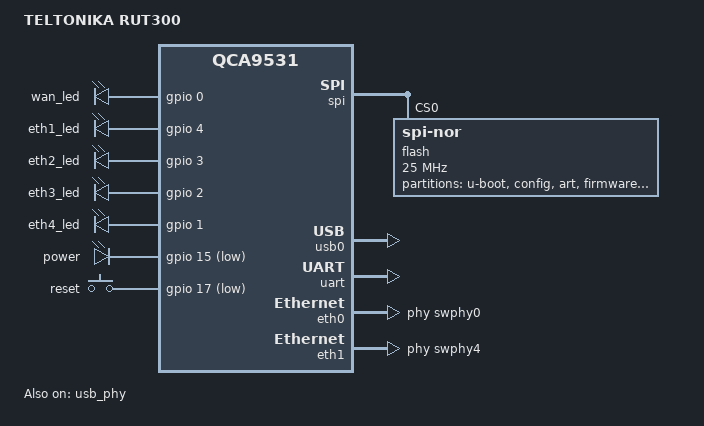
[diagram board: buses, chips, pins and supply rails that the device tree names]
// SPDX-License-Identifier: GPL-2.0-or-later OR MIT
/dts-v1/;

#include <dt-bindings/gpio/gpio.h>
#include <dt-bindings/input/input.h>
#include "qca953x.dtsi"
#include "platform_name.dtsi"

/ {
	compatible = "teltonika,rut30x", "qca,qca9531";
	model = "TELTONIKA RUT300";

	aliases {
		serial0 = &uart;
	};

	leds {
		compatible = "gpio-leds";

		wan_led {
			label = "wan_led";
			gpios = <&gpio 0 GPIO_ACTIVE_HIGH>;
		};

		eth1_led {
			label = "eth1_led";
			gpios = <&gpio 4 GPIO_ACTIVE_HIGH>;
		};

		eth2_led {
			label = "eth2_led";
			gpios = <&gpio 3 GPIO_ACTIVE_HIGH>;
		};

		eth3_led {
			label = "eth3_led";
			gpios = <&gpio 2 GPIO_ACTIVE_HIGH>;
		};

		eth4_led {
			label = "eth4_led";
			gpios = <&gpio 1 GPIO_ACTIVE_HIGH>;
		};

		led_power {
			label = "power";
			gpios = <&gpio 15 GPIO_ACTIVE_LOW>;
			default-state = "on";
		};
	};

	keys {
		compatible = "gpio-keys";

		reset {
			label = "reset";
			linux,code = <KEY_RESTART>;
			gpios = <&gpio 17 GPIO_ACTIVE_LOW>;
		};
	};

	tlt_gpios { // Modify according to wiki page "DTS syntax with Libgpiod changes"
		gpiochip_info {
			hw_0 {
				hwver = <0>;
				gpiochip_count = <1>;

				gpiochip_0 = <32>; // Built-in
			};
		};

		ioman {
			GPIO_11 {
				line_name = "GPIO_IN_1";
			};
			GPIO_12 {
				line_name = "GPIO_IN_2";
			};
			GPIO_13 {
				line_name = "GPIO_OUT_1";
			};
			GPIO_14 {
				line_name = "GPIO_OUT_2";
			};
		};

		ledman {
			GPIO_4 {
				line_name = "LED_ETH_GREEN_1";
			};
			GPIO_3 {
				line_name = "LED_ETH_GREEN_2";
			};
			GPIO_2 {
				line_name = "LED_ETH_GREEN_3";
			};
			GPIO_1 {
				line_name = "LED_ETH_GREEN_4";
			};
			GPIO_0 {
				line_name = "LED_ETH_GREEN_5";
			};
			GPIO_15 {
				line_name = "LED_POWER";
				active_low;
			};
		};
	};
};

&spi {
	status = "okay";
	num-cs = <1>;

	flash@0 {
		compatible = "jedec,spi-nor";
		reg = <0>;
		spi-max-frequency = <25000000>;

		partitions {
			compatible = "fixed-partitions";
			#address-cells = <1>;
			#size-cells = <1>;

			boot: partition@0 {
				label = "u-boot";
				reg = <0x000000 0x020000>;
				read-only;
			};

			config: partition@20000 {
				label = "config";
				reg = <0x020000 0x010000>;
				read-only;
			};

			art: partition@30000 {
				label = "art";
				reg = <0x030000 0x010000>;
				read-only;
			};

			partition@40000 {
				compatible = "denx,uimage";
				label = "firmware";
				reg = <0x040000 0xf30000>;
			};

			partition@f70000 {
				label = "event-log";
				reg = <0xf70000 0x090000>;
			};
		};
	};
};

&usb0 {
	#address-cells = <1>;
	#size-cells = <0>;
	status = "okay";

	hub_port0: port@1 {
		reg = <1>;
		#trigger-source-cells = <0>;
	};
};

&usb_phy {
	status = "okay";
};

&uart {
	status = "okay";
};

&eth0 {
	status = "okay";
	phy-handle = <&swphy0>;
	mtd-mac-address = <&config 0x0>;
	mtd-mac-address-increment = <1>;
};

&eth1 {
	phy-handle = <&swphy4>;
	mtd-mac-address = <&config 0x0>;

	gmac-config {
		device = <&gmac>;
		switch-phy-swap = <1>;
	};
};
